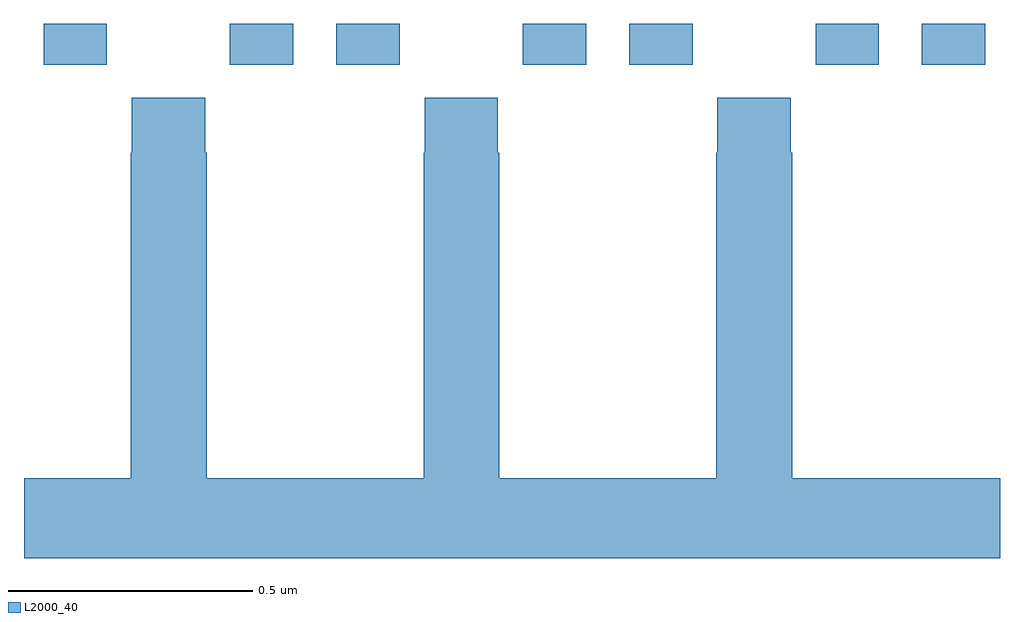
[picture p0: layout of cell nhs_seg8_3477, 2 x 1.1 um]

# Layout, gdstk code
import gdstk
lib = gdstk.Library(unit=1e-6, precision=1e-09)
def R(c, l, rs):  # rectangles x0, y0, x1, y1
    for r in rs: c.add(gdstk.rectangle(r[:2], r[2:], *l))
def P(c, l, *ps):  # polygons
    for p in ps: c.add(gdstk.Polygon(p, *l))
L2000_40 = (2000, 40)

nhs_seg8_3477 = lib.new_cell('nhs_seg8_3477')
R(nhs_seg8_3477, L2000_40, [(157.04,1146.816,157.17,1146.9), (157.422,1146.816,157.552,1146.9), (157.64,1146.816,157.77,1146.9), (158.022,1146.816,158.152,1146.9), (158.24,1146.816,158.37,1146.9), (158.622,1146.816,158.752,1146.9), (158.84,1146.816,158.97,1146.9)])
P(nhs_seg8_3477, L2000_40, [(159,1145.968),(158.574,1145.968),(158.574,1146.635),(158.571,1146.635),(158.571,1146.748),(158.421,1146.748),(158.421,1146.635),(158.419,1146.635),(158.419,1145.968),(157.974,1145.968),(157.974,1146.635),(157.971,1146.635),(157.971,1146.748),(157.821,1146.748),(157.821,1146.635),(157.819,1146.635),(157.819,1145.968),(157.374,1145.968),(157.374,1146.635),(157.371,1146.635),(157.371,1146.748),(157.221,1146.748),(157.221,1146.635),(157.219,1146.635),(157.219,1145.968),(157,1145.968),(157,1145.804),(159,1145.804)])

lib.write_gds('nhs_seg8_3477.gds')
